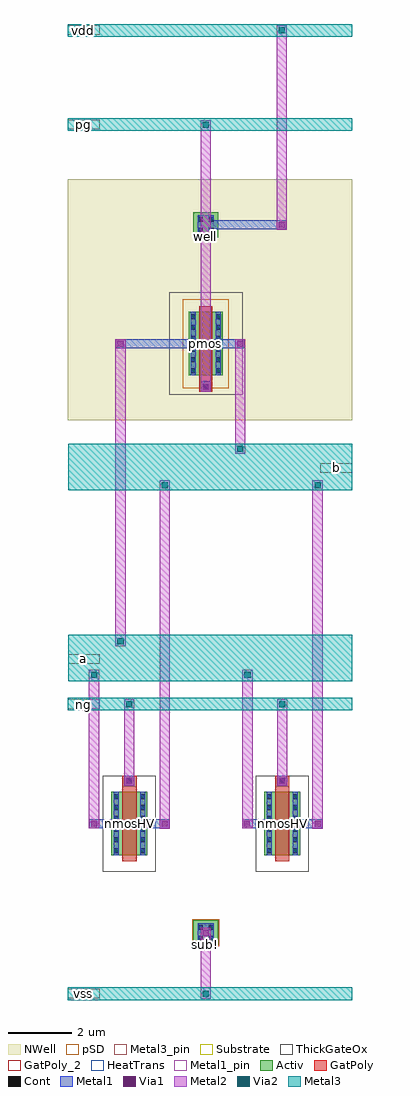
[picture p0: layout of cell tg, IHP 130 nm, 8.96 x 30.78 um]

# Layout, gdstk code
import gdstk
lib = gdstk.Library(unit=1e-6, precision=1e-09)
def R(c, l, rs):  # rectangles x0, y0, x1, y1
    for r in rs: c.add(gdstk.rectangle(r[:2], r[2:], *l))
def A(c, l, x, y, w, h, nx, ny, dx, dy):  # array of equal rectangles
    R(c, l, [(x+i*dx, y+j*dy, x+i*dx+w, y+j*dy+h) for i in range(nx) for j in range(ny)])
Activ = (1, 0)
GatPoly = (5, 0)
GatPoly_2 = (5, 2)
Cont = (6, 0)
Metal1 = (8, 0)
Metal1_pin = (8, 2)
Metal2 = (10, 0)
pSD = (14, 0)
Via1 = (19, 0)
Via2 = (29, 0)
Metal3 = (30, 0)
Metal3_pin = (30, 2)
NWell = (31, 0)
Substrate = (40, 0)
ThickGateOx = (44, 0)
HeatTrans = (51, 0)

c_tg = lib.new_cell('tg')
R(c_tg, Activ, [(2.235,-11.63,3.015,-10.85), (-0.35,-8.8,-0.05,-8.5), (-0.35,-8.8,0.78,-6.8), (0.48,-8.8,0.78,-8.5), (4.47,-8.8,4.77,-8.5), (4.47,-8.8,5.6,-6.8), (5.3,-8.8,5.6,-8.5), (2.085,6.34,2.385,6.64), (2.085,6.34,3.165,8.34), (2.865,6.34,3.165,6.64), (2.235,10.7,3.015,11.48)])
R(c_tg, GatPoly, [(-0.01,-8.98,0.44,-6.62), (4.81,-8.98,5.26,-6.62), (-0.01,-6.64,0.44,-6.29), (4.81,-6.64,5.26,-6.29), (2.425,5.83,2.825,6.18), (2.425,6.16,2.825,8.52)])
R(c_tg, GatPoly_2, [(-0.01,-8.98,0.44,-6.62), (4.81,-8.98,5.26,-6.62), (2.425,6.16,2.825,8.52)])
A(c_tg, Cont, -0.28, -8.73, 0.16, 0.16, 1, 6, 0, 0.34)
A(c_tg, Cont, 0.55, -8.73, 0.16, 0.16, 1, 6, 0, 0.34)
A(c_tg, Cont, 4.54, -8.73, 0.16, 0.16, 1, 6, 0, 0.34)
A(c_tg, Cont, 5.37, -8.73, 0.16, 0.16, 1, 6, 0, 0.34)
A(c_tg, Cont, 2.155, 6.41, 0.16, 0.16, 1, 6, 0, 0.34)
A(c_tg, Cont, 2.935, 6.41, 0.16, 0.16, 1, 6, 0, 0.34)
R(c_tg, Cont, [(2.375,-11.49,2.535,-11.33), (2.715,-11.49,2.875,-11.33), (2.375,-11.15,2.535,-10.99), (2.715,-11.15,2.875,-10.99), (0.135,-6.52,0.295,-6.36), (4.955,-6.52,5.115,-6.36), (2.545,5.9,2.705,6.06), (2.375,10.84,2.535,11), (2.715,10.84,2.875,11), (2.375,11.18,2.535,11.34), (2.715,11.18,2.875,11.34)])
R(c_tg, Metal1, [(2.375,-11.54,2.875,-10.94), (2.375,-11.49,2.875,-10.99), (2.48,-11.345,2.77,-11.135), (-0.28,-8.8,-0.12,-6.8), (0.55,-8.8,0.71,-6.8), (4.54,-8.8,4.7,-6.8), (5.37,-8.8,5.53,-6.8), (-1.04,-7.94,-0.06,-7.66), (0.49,-7.94,1.47,-7.66), (3.78,-7.94,4.76,-7.66), (5.31,-7.94,6.29,-7.66), (-1.045,-7.905,-0.755,-7.695), (1.185,-7.905,1.475,-7.695), (3.775,-7.905,4.065,-7.695), (6.005,-7.905,6.295,-7.695), (0.055,-6.6,0.375,-6.28), (4.875,-6.6,5.195,-6.28), (0.07,-6.545,0.36,-6.335), (4.89,-6.545,5.18,-6.335), (2.465,5.82,2.785,6.14), (2.48,5.875,2.77,6.085), (2.155,6.34,2.315,8.34), (2.935,6.34,3.095,8.34), (-0.205,7.2,2.375,7.48), (2.875,7.2,3.855,7.48), (-0.21,7.235,0.08,7.445), (3.57,7.235,3.86,7.445), (2.375,10.79,2.875,11.39), (2.485,10.95,5.165,11.23), (4.88,10.985,5.17,11.195)])
R(c_tg, Metal1_pin, [(2.375,-11.49,2.875,-10.99), (-0.28,-8.8,-0.12,-6.8), (0.55,-8.8,0.71,-6.8), (4.54,-8.8,4.7,-6.8), (5.37,-8.8,5.53,-6.8), (2.155,6.34,2.315,8.34), (2.935,6.34,3.095,8.34), (2.375,10.79,2.875,11.39), (2.375,10.84,2.875,11.34)])
R(c_tg, Metal2, [(2.465,-13.32,2.785,-11.08), (2.48,-13.26,2.77,-13.06), (2.48,-11.34,2.77,-11.14), (1.17,-7.96,1.49,3.035), (5.99,-7.96,6.31,3.03), (-1.06,-7.94,-0.74,-2.94), (3.78,-7.94,4.1,-2.94), (-1.045,-7.9,-0.755,-7.7), (1.185,-7.9,1.475,-7.7), (3.775,-7.9,4.065,-7.7), (6.005,-7.9,6.295,-7.7), (0.055,-6.6,0.375,-3.87), (4.875,-6.6,5.195,-3.87), (0.07,-6.54,0.36,-6.34), (4.89,-6.54,5.18,-6.34), (0.07,-4.13,0.36,-3.93), (4.89,-4.13,5.18,-3.93), (-1.045,-3.205,-0.755,-3.005), (3.795,-3.205,4.085,-3.005), (-0.225,-2.21,0.095,7.48), (-0.21,-2.145,0.08,-1.945), (1.185,2.78,1.475,2.98), (6.005,2.78,6.295,2.98), (3.555,3.86,3.875,7.48), (3.57,3.925,3.86,4.125), (2.465,5.82,2.785,14.38), (2.48,5.88,2.77,6.08), (-0.21,7.24,0.08,7.44), (3.57,7.24,3.86,7.44), (4.865,10.93,5.185,17.38), (4.88,10.99,5.17,11.19), (2.48,14.15,2.77,14.35), (4.88,17.12,5.17,17.32)])
R(c_tg, pSD, [(2.205,-11.66,3.045,-10.82), (1.905,5.94,3.345,8.74)])
R(c_tg, Via1, [(2.53,-11.335,2.72,-11.145), (-0.995,-7.895,-0.805,-7.705), (1.235,-7.895,1.425,-7.705), (3.825,-7.895,4.015,-7.705), (6.055,-7.895,6.245,-7.705), (0.12,-6.535,0.31,-6.345), (4.94,-6.535,5.13,-6.345), (2.53,5.885,2.72,6.075), (-0.16,7.245,0.03,7.435), (3.62,7.245,3.81,7.435), (4.93,10.995,5.12,11.185)])
R(c_tg, Via2, [(2.53,-13.255,2.72,-13.065), (0.12,-4.125,0.31,-3.935), (4.94,-4.125,5.13,-3.935), (-0.995,-3.2,-0.805,-3.01), (3.845,-3.2,4.035,-3.01), (-0.16,-2.14,0.03,-1.95), (1.235,2.785,1.425,2.975), (6.055,2.785,6.245,2.975), (3.62,3.93,3.81,4.12), (2.53,14.155,2.72,14.345), (4.93,17.125,5.12,17.315)])
R(c_tg, Metal3, [(-1.725,-13.36,7.24,-12.96), (2.48,-13.26,2.77,-13.06), (-1.725,-4.23,7.24,-3.83), (0.07,-4.13,0.36,-3.93), (4.89,-4.13,5.18,-3.93), (-1.72,-3.305,7.24,-1.845), (-1.045,-3.205,-0.755,-3.005), (3.795,-3.205,4.085,-3.005), (-0.21,-2.145,0.08,-1.945), (-1.72,2.72,7.24,4.18), (1.185,2.78,1.475,2.98), (6.005,2.78,6.295,2.98), (3.57,3.925,3.86,4.125), (-1.725,14.05,7.24,14.45), (2.48,14.15,2.77,14.35), (-1.725,17.02,7.24,17.42), (4.88,17.12,5.17,17.32)])
R(c_tg, Metal3_pin, [(-1.725,-13.31,-0.725,-13.01), (-1.725,-4.18,-0.725,-3.88), (-1.72,-2.75,-0.72,-2.45), (6.24,3.275,7.24,3.575), (-1.725,14.1,-0.725,14.4), (-1.725,17.075,-0.725,17.375)])
R(c_tg, NWell, [(-1.725,4.92,7.24,12.52), (1.465,5.72,3.785,8.96), (1.995,10.46,3.255,11.72), (2.235,10.7,3.015,11.48)])
R(c_tg, Substrate, [(2.235,-11.63,3.015,-10.85)])
R(c_tg, ThickGateOx, [(-0.62,-9.32,1.05,-6.28), (4.2,-9.32,5.87,-6.28), (1.465,5.72,3.785,8.96)])
R(c_tg, HeatTrans, [(-0.01,-8.98,0.44,-6.62), (4.81,-8.98,5.26,-6.62), (2.425,6.16,2.825,8.52)])
c_tg.add(gdstk.Label('nmosHV', (0.215,-7.8), layer=51, texttype=0))
c_tg.add(gdstk.Label('nmosHV', (5.035,-7.8), layer=51, texttype=0))
c_tg.add(gdstk.Label('pmos', (2.625,7.34), layer=51, texttype=0))
c_tg.add(gdstk.Label('well', (2.625,10.71), layer=31, texttype=0))
c_tg.add(gdstk.Label('sub!', (2.625,-11.62), layer=40, texttype=0))
c_tg.add(gdstk.Label('nmosHV', (0.215,-7.8), layer=63, texttype=0))
c_tg.add(gdstk.Label('nmosHV', (5.035,-7.8), layer=63, texttype=0))
c_tg.add(gdstk.Label('pmosHV', (2.625,7.34), layer=63, texttype=0))
c_tg.add(gdstk.Label('well', (2.625,10.71), layer=63, texttype=0))
c_tg.add(gdstk.Label('sub!', (2.625,-11.62), layer=63, texttype=0))
c_tg.add(gdstk.Label('vss', (-1.225,-13.16), layer=30, texttype=25))
c_tg.add(gdstk.Label('b', (6.74,3.425), layer=30, texttype=25))
c_tg.add(gdstk.Label('vdd', (-1.225,17.225), layer=30, texttype=25))
c_tg.add(gdstk.Label('pg', (-1.225,14.25), layer=30, texttype=25))
c_tg.add(gdstk.Label('a', (-1.22,-2.6), layer=30, texttype=25))
c_tg.add(gdstk.Label('ng', (-1.22,-4.03), layer=30, texttype=25))

lib.write_gds('tg.gds')
